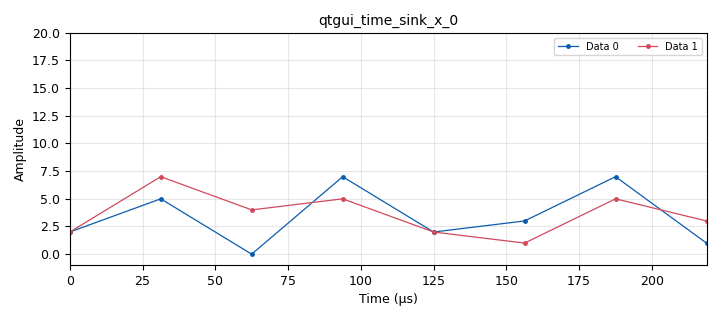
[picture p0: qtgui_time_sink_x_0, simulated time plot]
<?xml version='1.0' encoding='utf-8'?>
<?grc format='1' created='3.7.13'?>
<flow_graph>
<block>
<key>options</key>
<param><key>id</key><value>top_block</value></param>
<param><key>generate_options</key><value>qt_gui</value></param>
</block>
<block>
<key>variable</key>
<param><key>id</key><value>cod_gray</value></param>
<param><key>value</key><value>4,3,2,1,0,7,6,5</value></param>
</block>
<block>
<key>variable</key>
<param><key>id</key><value>samp_rate</value></param>
<param><key>value</key><value>32000</value></param>
</block>
<block>
<key>blocks_char_to_float</key>
<param><key>id</key><value>blocks_char_to_float_0</value></param>
<param><key>scale</key><value>1</value></param>
</block>
<block>
<key>blocks_char_to_float</key>
<param><key>id</key><value>blocks_char_to_float_0_0</value></param>
<param><key>scale</key><value>1</value></param>
</block>
<block>
<key>blocks_vector_source_x</key>
<param><key>id</key><value>blocks_vector_source_x_0</value></param>
<param><key>type</key><value>byte</value></param>
<param><key>repeat</key><value>False</value></param>
<param><key>vector</key><value>(7,4,2,5,0,7,2,3,7,1)</value></param>
</block>
<block>
<key>digital_map_bb</key>
<param><key>id</key><value>digital_map_bb_0</value></param>
<param><key>map</key><value>cod_gray</value></param>
</block>
<block>
<key>qtgui_time_sink_x</key>
<param><key>id</key><value>qtgui_time_sink_x_0</value></param>
<param><key>color1</key><value>"blue"</value></param>
<param><key>label1</key><value></value></param>
<param><key>marker1</key><value>0</value></param>
<param><key>color2</key><value>"red"</value></param>
<param><key>label2</key><value></value></param>
<param><key>marker2</key><value>3</value></param>
<param><key>nconnections</key><value>2</value></param>
<param><key>size</key><value>8</value></param>
<param><key>srate</key><value>samp_rate</value></param>
<param><key>type</key><value>float</value></param>
<param><key>ymax</key><value>20</value></param>
</block>
<connection><source_block_id>blocks_char_to_float_0</source_block_id><sink_block_id>qtgui_time_sink_x_0</sink_block_id><source_key>0</source_key><sink_key>1</sink_key></connection>
<connection><source_block_id>blocks_char_to_float_0_0</source_block_id><sink_block_id>qtgui_time_sink_x_0</sink_block_id><source_key>0</source_key><sink_key>0</sink_key></connection>
<connection><source_block_id>blocks_vector_source_x_0</source_block_id><sink_block_id>blocks_char_to_float_0_0</sink_block_id><source_key>0</source_key><sink_key>0</sink_key></connection>
<connection><source_block_id>blocks_vector_source_x_0</source_block_id><sink_block_id>digital_map_bb_0</sink_block_id><source_key>0</source_key><sink_key>0</sink_key></connection>
<connection><source_block_id>digital_map_bb_0</source_block_id><sink_block_id>blocks_char_to_float_0</sink_block_id><source_key>0</source_key><sink_key>0</sink_key></connection>
</flow_graph>
